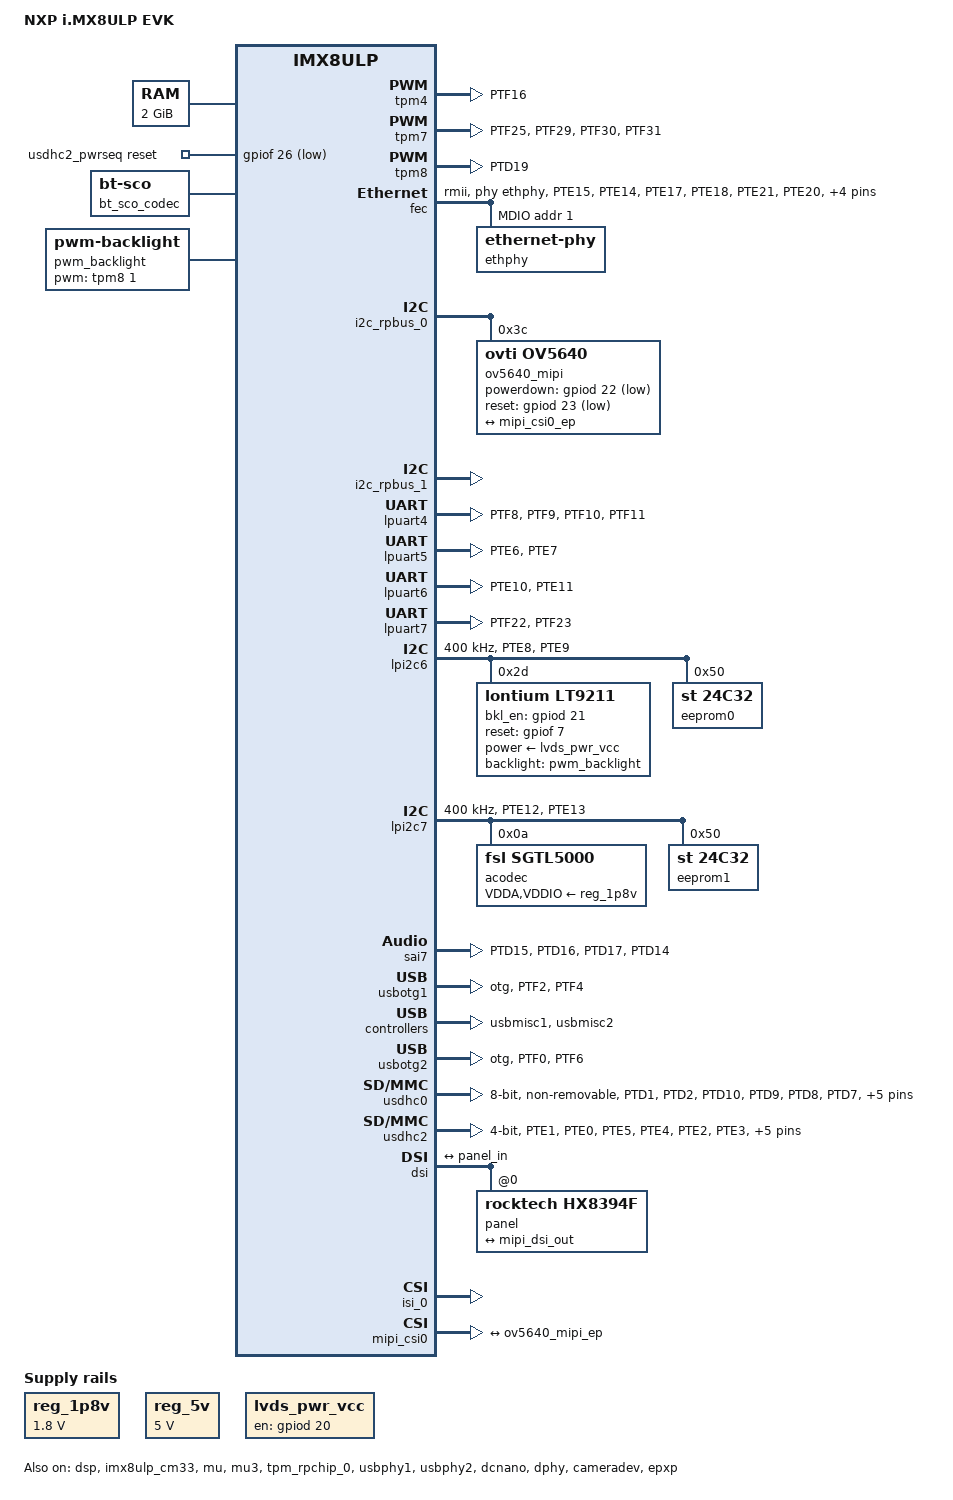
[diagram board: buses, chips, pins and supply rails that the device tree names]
// SPDX-License-Identifier: (GPL-2.0+ OR MIT)
/*
 * Copyright 2021 NXP
 */

/dts-v1/;

#include "imx8ulp.dtsi"
#include "imx8ulp-rpmsg.dtsi"
#include <dt-bindings/input/input.h>
#include <dt-bindings/display/dt-media-bus-format.h>

/ {
	model = "NXP i.MX8ULP EVK";
	compatible = "fsl,imx8ulp-evk", "fsl,imx8ulp";

	chosen {
		stdout-path = &lpuart5;
	};

	memory@40000000 {
		device_type = "memory";
		reg = <0x0 0x80000000 0 0x80000000>;
	};

	rpmsg_keys: rpmsg-keys {
		compatible = "fsl,rpmsg-keys";

		volume-up {
			label = "VolumeUp";
			linux,code = <KEY_VOLUMEUP>;
			rpmsg-key,wakeup;
		};

		volume-down {
			label = "VolumeDown";
			linux,code = <KEY_VOLUMEDOWN>;
			rpmsg-key,wakeup;
		};
	};

	reg_1p8v: regulator-1p8v {
		compatible = "regulator-fixed";
		regulator-name = "1P8V";
		regulator-min-microvolt = <1800000>;
		regulator-max-microvolt = <1800000>;
		regulator-always-on;
	};

	reserved-memory {
		#address-cells = <2>;
		#size-cells = <2>;
		ranges;

		linux,cma {
			compatible = "shared-dma-pool";
			reusable;
			size = <0 0x28000000>;
			linux,cma-default;
		};

		rsc_table: rsc_table@1fff8000{
			reg = <0 0x1fff8000 0 0x1000>;
			no-map;
		};

		dsp_reserved: dsp_reserved@8e000000 {
			reg = <0 0x8e000000 0 0x1000000>;
			no-map;
		};
		dsp_reserved_heap: dsp_reserved_heap {
			reg = <0 0x8f000000 0 0xef0000>;
			no-map;
		};
		dsp_vdev0vring0: vdev0vring0@8fef0000 {
			reg = <0 0x8fef0000 0 0x8000>;
			no-map;
		};
		dsp_vdev0vring1: vdev0vring1@8fef8000 {
			reg = <0 0x8fef8000 0 0x8000>;
			no-map;
		};
		dsp_vdev0buffer: vdev0buffer@8ff00000 {
			compatible = "shared-dma-pool";
			reg = <0 0x8ff00000 0 0x100000>;
			no-map;
		};

		vdev0vring0: vdev0vring0@aff00000 {
			reg = <0 0xaff00000 0 0x8000>;
			no-map;
		};

		vdev0vring1: vdev0vring1@aff08000 {
			reg = <0 0xaff08000 0 0x8000>;
			no-map;
		};

		vdev1vring0: vdev1vring0@aff10000 {
			reg = <0 0xaff10000 0 0x8000>;
			no-map;
		};

		vdev1vring1: vdev1vring1@aff18000 {
			reg = <0 0xaff18000 0 0x8000>;
			no-map;
		};

		vdevbuffer: vdevbuffer@a8400000 {
			compatible = "shared-dma-pool";
			reg = <0 0xa8400000 0 0x100000>;
			no-map;
		};

		m33_reserved: m33_noncacheable_section@a8600000 {
			no-map;
			reg = <0 0xa8600000 0 0x1000000>;
		};
	};

	reg_5v: regulator-5v {
		compatible = "regulator-fixed";
		regulator-name = "5V";
		regulator-min-microvolt = <5000000>;
		regulator-max-microvolt = <5000000>;
		regulator-always-on;
	};

	usdhc2_pwrseq: usdhc2_pwrseq {
		compatible = "mmc-pwrseq-simple";
		reset-gpios = <&gpiof 26 GPIO_ACTIVE_LOW>;
	};
/*
	usdhc2_pwrseq: usdhc2_pwrseq {
                compatible = "mmc-pwrseq-simple";
		reset-gpios = <&gpioc 23 GPIO_ACTIVE_LOW>;  //SDIO card
		power-off-delay-us = <2000>;
		post-power-on-delay-ms = <40>;
        };
*/

/*
	lpuart4_mod_reset: lpuart4-mod-reset {
		compatible = "gpio-reset";
		reset-gpios = <&gpioc 22 GPIO_ACTIVE_LOW>;
		reset-delay-us = <2000>;
		reset-post-delay-ms = <40>;
		#reset-cells = <0>;
	};
*/

	bt_sco_codec: bt_sco_codec {
		#sound-dai-cells = <1>;
		compatible = "linux,bt-sco";
	};

/*
	reg_sd1_vmmc: sd1_regulator {
		compatible = "regulator-fixed";
		regulator-name = "WLAN_EN";
		regulator-min-microvolt = <3300000>;
		regulator-max-microvolt = <3300000>;
		gpio = <&gpioc 21 GPIO_ACTIVE_HIGH>;
		off-on-delay-us = <20000>;
		startup-delay-us = <100>;
		enable-active-high;
	};
*/

	sound {
		compatible = "fsl,sgtl5000",
				"fsl,imx-audio-sgtl5000";
		model = "sgtl5000";
		codec-master;
		ssi-controller = <&sai7>;
		audio-codec = <&acodec>;
		audio-routing =
			"MIC_IN", "Mic Jack",
			"Mic Jack", "Mic Bias",
			"Headphone Jack", "HP_OUT";
		no-audmux;
	};

	pwm_backlight: backlight {
		compatible = "pwm-backlight";
		pwms = <&tpm8 1 1000000 0>;
		brightness-levels = < 0  1  2  3  4  5  6  7  8  9
				     10 11 12 13 14 15 16 17 18 19
				     20 21 22 23 24 25 26 27 28 29
				     30 31 32 33 34 35 36 37 38 39
				     40 41 42 43 44 45 46 47 48 49
				     50 51 52 53 54 55 56 57 58 59
				     60 61 62 63 64 65 66 67 68 69
				     70 71 72 73 74 75 76 77 78 79
				     80 81 82 83 84 85 86 87 88 89
				     90 91 92 93 94 95 96 97 98 99
				    100>;
		default-brightness-level = <80>;
		default-enable = <0>;
		status = "okay";
	};

	lvds_pwr_vcc: lvds-pwr-vcc {
		compatible = "regulator-fixed";
		regulator-name = "lvds_pwr_vcc";
		pinctrl-names = "default";
		gpio = <&gpiod 20 GPIO_ACTIVE_HIGH>;
		enable-active-high;
	};
};

&per_bridge3 {
	tpm4: tpm@29330000 {
		compatible = "fsl,imx8ulp-pwm", "fsl,imx7ulp-pwm";
		reg = <0x29330000 0x1000>;
		clocks = <&pcc3 IMX8ULP_CLK_TPM4>;
		clock-names = "ipg";
		assigned-clocks = <&pcc3 IMX8ULP_CLK_TPM4>;
		assigned-clock-parents =  <&cgc1 IMX8ULP_CLK_SOSC_DIV2>;
		assigned-clock-rates = <24000000>;
		status = "disabled";
	};
};

&per_bridge4 {
	tpm7: pwm@29830000 {
		compatible = "fsl,imx8ulp-pwm", "fsl,imx7ulp-pwm";
		reg = <0x29830000 0x10000>;
                clocks = <&pcc4 IMX8ULP_CLK_TPM7>;
                clock-names = "ipg", "sel";
                assigned-clocks = <&pcc4 IMX8ULP_CLK_TPM7>, <&cgc1 IMX8ULP_CLK_TPM7_SEL>;
                assigned-clock-parents =  <&cgc1 IMX8ULP_CLK_SOSC_DIV2>, <&cgc1 IMX8ULP_CLK_SOSC>;
                assigned-clock-rates = <24000000>;
                status = "disabled";
	};
};

&per_bridge5 {
	tpm8: pwm@2da80000 {
		compatible = "fsl,imx8ulp-pwm", "fsl,imx7ulp-pwm";
		reg = <0x2da80000 0x10000>;
		clocks = <&pcc5 IMX8ULP_CLK_TPM8>;
		clock-names = "ipg";
		assigned-clocks = <&pcc5 IMX8ULP_CLK_TPM8>;
		assigned-clock-parents =  <&cgc1 IMX8ULP_CLK_SOSC_DIV2>;
		assigned-clock-rates = <24000000>;
		status = "disabled";
	};
};

&clock_ext_ts {
	/* External ts clock is 50MHZ from PHY on EVK board. */
	clock-frequency = <50000000>;
};

&dsp {
	assigned-clocks = <&cgc2 IMX8ULP_CLK_HIFI_SEL>;
	assigned-clock-parents = <&cgc2 IMX8ULP_CLK_PLL4>;
	memory-region = <&dsp_vdev0buffer>, <&dsp_vdev0vring0>,
			<&dsp_vdev0vring1>, <&dsp_reserved>;
	status = "okay";
};

&fec {
	pinctrl-names = "default", "sleep";
	pinctrl-0 = <&pinctrl_enet>;
	pinctrl-1 = <&pinctrl_enet>;
	assigned-clocks = <&cgc1 IMX8ULP_CLK_ENET_TS_SEL>;
	assigned-clock-parents = <&clock_ext_ts>;
	phy-mode = "rmii";
	phy-handle = <&ethphy>;
	status = "okay";

	mdio {
		#address-cells = <1>;
		#size-cells = <0>;

		ethphy: ethernet-phy@1 {
			reg = <1>;
			micrel,led-mode = <1>;
		};
	};
};

&i2c_rpbus_0 {
	#address-cells = <1>;
	#size-cells = <0>;
	status = "okay";

	ov5640_mipi: ov5640_mipi@3c {
		compatible = "ovti,ov5640";
		reg = <0x3c>;
		clocks = <&cgc2 IMX8ULP_CLK_DSI_PHY_REF>;
		clock-names = "xclk";
		pinctrl-names = "default";
		pinctrl-0 = <&pinctrl_cam>;
		powerdown-gpios = <&gpiod 22 GPIO_ACTIVE_LOW>;
		reset-gpios = <&gpiod 23 GPIO_ACTIVE_LOW>;
		status = "okay";
		port {
			ov5640_mipi_ep: endpoint {
				remote-endpoint = <&mipi_csi0_ep>;
				data-lanes = <1 2>;
				clocks-lanes = <0>;
			};
		};
	};
};

&i2c_rpbus_1 {
	#address-cells = <1>;
	#size-cells = <0>;
	status = "okay";
};

&imx8ulp_cm33 {
	ipc-only;
	rsc-da=<0x1fff8000>;
	mbox-names = "tx", "rx", "rxdb";
	mboxes = <&mu 0 1
			&mu 1 1
			&mu 3 1>;
	memory-region = <&vdevbuffer>, <&vdev0vring0>, <&vdev0vring1>,
			<&vdev1vring0>, <&vdev1vring1>, <&rsc_table>;
	status = "okay";
};

&lpuart4 {
	pinctrl-names = "default", "sleep";
	pinctrl-0 = <&pinctrl_lpuart4>;
	pinctrl-1 = <&pinctrl_lpuart4>;
	status = "okay";
};

/*
&lpuart4 {
        pinctrl-names = "default";
        pinctrl-0 = <&pinctrl_lpuart4>, <&pinctrl_lpuart4_gpio>;
	fsl,uart-has-rtscts;
	resets = <&lpuart4_mod_reset>;
        status = "okay";
};
*/

&lpuart5 {
	/* console */
	pinctrl-names = "default", "sleep";
	pinctrl-0 = <&pinctrl_lpuart5>;
	pinctrl-1 = <&pinctrl_lpuart5>;
	status = "okay";
};

&lpuart6 {
	/* BT */
	pinctrl-names = "default", "sleep";
	pinctrl-0 = <&pinctrl_lpuart6>;
	pinctrl-1 = <&pinctrl_lpuart6>;
	status = "okay";
};

&lpuart7 {
	/* FT4232 PortD: need to connect J25/J26 2-3 */
	pinctrl-names = "default", "sleep";
	pinctrl-0 = <&pinctrl_lpuart7>;
	pinctrl-1 = <&pinctrl_lpuart7>;
	status = "okay";
};

&lpi2c6 {
	#address-cells = <1>;
	#size-cells = <0>;
	clock-frequency = <400000>;
	pinctrl-names = "default", "sleep";
	pinctrl-0 = <&pinctrl_lpi2c6>;
	pinctrl-1 = <&pinctrl_lpi2c6>;
	status = "okay";

	lt9211:lt9211@2d {
		compatible = "lontium,lt9211";
		reg = <0x2d>;
		pinctrl-names = "default";
		pinctrl-0 = <&pinctrl_lvds>;
		power-supply = <&lvds_pwr_vcc>;
		backlight = <&pwm_backlight>;
		bkl_en_gpio = <&gpiod 21 GPIO_ACTIVE_HIGH>;
		reset_gpio = <&gpiof 7 GPIO_ACTIVE_HIGH>;
		bus-format = <MEDIA_BUS_FMT_RGB888_1X7X4_SPWG>; // MEDIA_BUS_FMT_RGB888_1X7X4_JEIDA MEDIA_BUS_FMT_RGB888_1X7X4_SPWG
		delay_ms = <5000>;
		status = "okay";
	};

	eeprom0: 24c32@50 {
		compatible = "st,24c32";
		reg = <0x50>;
	};
};

&lpi2c7 {
	#address-cells = <1>;
	#size-cells = <0>;
	clock-frequency = <400000>;
	pinctrl-names = "default", "sleep";
	pinctrl-0 = <&pinctrl_lpi2c7>;
	pinctrl-1 = <&pinctrl_lpi2c7>;
	status = "okay";

	acodec: sgtl5000@a {
		#sound-dai-cells = <0>;
		compatible = "fsl,sgtl5000";
		reg = <0xa>;
		VDDA-supply = <&reg_1p8v>;
		VDDIO-supply = <&reg_1p8v>;
		pinctrl-names = "default";
		pinctrl-0 = <&pinctrl_sai7_mclk>;
		clocks = <&cgc1 IMX8ULP_CLK_SPLL3_PFD1_DIV1>;
		clock-names = "mclk";
	};

	eeprom1: 24c32@50 {
		compatible = "st,24c32";
		reg = <0x50>;
	};
};

&mu {
	status = "okay";
};

&mu3 {
	status = "okay";
};

&sai7 {
	#sound-dai-cells = <0>;
	pinctrl-names = "default", "sleep";
	pinctrl-0 = <&pinctrl_sai7>;
	pinctrl-1 = <&pinctrl_sai7>;
	assigned-clocks = <&cgc2 IMX8ULP_CLK_SAI7_SEL>;
	assigned-clock-parents = <&cgc1 IMX8ULP_CLK_SPLL3_PFD1_DIV1>;
	status = "okay";
};

&tpm_rpchip_0 {
	status = "okay";
};

&usbotg1 {
	pinctrl-names = "default", "sleep";
	pinctrl-0 = <&pinctrl_otgid1>;
	pinctrl-1 = <&pinctrl_otgid1>;
	dr_mode = "otg";
	hnp-disable;
	srp-disable;
	adp-disable;
	over-current-active-low;
	status = "okay";
};

&usbphy1 {
	status = "okay";
};

&usbmisc1 {
	status = "okay";
};

&usbotg2 {
	pinctrl-names = "default", "sleep";
	pinctrl-0 = <&pinctrl_otgid2>;
	pinctrl-1 = <&pinctrl_otgid2>;
	dr_mode = "otg";
	hnp-disable;
	srp-disable;
	adp-disable;
	over-current-active-low;
	status = "okay";
};

&usbphy2 {
	status = "okay";
};

&usbmisc2 {
	status = "okay";
};

&usdhc0 {
	pinctrl-names = "default", "state_100mhz", "state_200mhz", "sleep";
	pinctrl-0 = <&pinctrl_usdhc0>;
	pinctrl-1 = <&pinctrl_usdhc0>;
	pinctrl-2 = <&pinctrl_usdhc0>;
	pinctrl-3 = <&pinctrl_usdhc0>;
	non-removable;
	bus-width = <8>;
	status = "okay";
};

&usdhc2 {
	pinctrl-names = "default", "state_100mhz", "state_200mhz";
	pinctrl-0 = <&pinctrl_usdhc2_pte>;
	pinctrl-1 = <&pinctrl_usdhc2_pte>;
	pinctrl-2 = <&pinctrl_usdhc2_pte>;
	wp-gpios = <&gpiof 27 GPIO_ACTIVE_HIGH>;
	cd-gpios = <&gpiof 28 GPIO_ACTIVE_LOW>;
	mmc-pwrseq = <&usdhc2_pwrseq>;
	max-frequency = <100000000>;
	bus-width = <4>;
	keep-power-in-suspend;
	fsl,sdio-async-interrupt-enabled;
	no-1-8-v;
	status = "okay";
};

/*
&usdhc2 {
	pinctrl-names = "default", "state_100mhz", "state_200mhz";
	pinctrl-0 = <&pinctrl_usdhc2_pte>, <&pinctrl_usdhc2_gpio>;
	pinctrl-1 = <&pinctrl_usdhc2_pte>, <&pinctrl_usdhc2_gpio>;
	pinctrl-2 = <&pinctrl_usdhc2_pte>, <&pinctrl_usdhc2_gpio>;
	bus-width = <4>;
	mmc-pwrseq = <&usdhc2_pwrseq>;
	vmmc-supply = <&reg_sd1_vmmc>;
	keep-power-in-suspend;
	fsl,sdio-async-interrupt-enabled;
	no-1-8-v;
	status = "okay";
};
*/

&dcnano {
	status = "okay";
};

&dphy {
	status = "okay";
};

&dsi {
	status = "okay";

	panel@0 {
		compatible = "rocktech,hx8394f";
		reg = <0>;
		adv-panel = "lontium,lt9211_800x480";
		himax,dsi-lanes = <4>;

		port {
			panel_in: endpoint {
				remote-endpoint = <&mipi_dsi_out>;
			};
		};
	};

	ports {
		port@1 {
			reg = <1>;

			mipi_dsi_out: endpoint {
				remote-endpoint = <&panel_in>;
			};
		};
	};
};

&tpm4 {
	pinctrl-names = "default", "sleep";
	pinctrl-0 = <&pinctrl_tpm4>;
	pinctrl-1 = <&pinctrl_tpm4>;
	status = "okay";
};

&tpm7 {
	pinctrl-names = "default", "sleep";
	pinctrl-0 = <&pinctrl_tpm7>;
	pinctrl-1 = <&pinctrl_tpm7>;
	status = "okay";
};

&tpm8 {
	pinctrl-names = "default";
	pinctrl-0 = <&pinctrl_pwm>;
	#pwm-cells = <3>;
	status = "okay";
};

&iomuxc0 {
	pinctrl-names = "default";
        pinctrl-0 = <&pinctrl_hog_0>;

        pinctrl_hog_0: hog0grp {
                fsl,pins = <
                        MX8ULP_PAD_PTA5__PTA5_GPIOA     0x3
                        MX8ULP_PAD_PTB0__PTB0_GPIOB     0x3
                        MX8ULP_PAD_PTB1__PTB1_GPIOB     0x3
                        MX8ULP_PAD_PTB6__PTB6_GPIOB     0x3
                        MX8ULP_PAD_PTC0__PTC0_GPIOC     0x3
                        MX8ULP_PAD_PTC1__PTC1_GPIOC     0x3
                        MX8ULP_PAD_PTC2__PTC2_GPIOC     0x3
                        MX8ULP_PAD_PTC3__PTC3_GPIOC     0x3
                        MX8ULP_PAD_PTC4__PTC4_GPIOC     0x3
                        MX8ULP_PAD_PTC12__PTC12_GPIOC   0x3
                        MX8ULP_PAD_PTC18__PTC18_GPIOC   0x3
                        MX8ULP_PAD_PTC19__PTC19_GPIOC   0x3
                        MX8ULP_PAD_PTC20__PTC20_GPIOC   0x3
                        /* MX8ULP_PAD_PTC21__PTC21_GPIOC   0x3 */
                        /* MX8ULP_PAD_PTC22__PTC22_GPIOC   0x3 */
                        /* MX8ULP_PAD_PTC23__PTC23_GPIOC   0x3 */

                >;
        };

	pinctrl_usdhc2_gpio: usdhc2grpgpio {
		fsl,pins = <
			MX8ULP_PAD_PTC21__PTC21_GPIOC   0x3  /* M2_SDIO_RST */
			MX8ULP_PAD_PTC23__PTC23_GPIOC   0x3  /* W_DISABLE1 */
		>;
	};

	pinctrl_lpuart4_gpio: lpuart4grpgpio {
                fsl,pins = <
                        MX8ULP_PAD_PTC22__PTC22_GPIOC   0x2  /* W_DISABLE2 */
                >;
        };
};

&iomuxc1 {
	pinctrl-names = "default";
        pinctrl-0 = <&pinctrl_hog_1>;

        pinctrl_hog_1: hog1grp {
                fsl,pins = <
                        MX8ULP_PAD_PTD12__PTD12         0x3
                        MX8ULP_PAD_PTD13__PTD13         0x3
                        /* MX8ULP_PAD_PTD19__PTD19         0x3 */
                        MX8ULP_PAD_PTF1__PTF1           0x3
                >;
        };

	pinctrl_enet: enetgrp {
		fsl,pins = <
			MX8ULP_PAD_PTE15__ENET0_MDC     0x43
			MX8ULP_PAD_PTE14__ENET0_MDIO    0x43
			MX8ULP_PAD_PTE17__ENET0_RXER    0x43
			MX8ULP_PAD_PTE18__ENET0_CRS_DV  0x43
			/*
			MX8ULP_PAD_PTF1__ENET0_RXD0     0x43
			*/
			MX8ULP_PAD_PTE21__ENET0_RXD0	0x43
			MX8ULP_PAD_PTE20__ENET0_RXD1    0x43
			MX8ULP_PAD_PTE16__ENET0_TXEN    0x43
			MX8ULP_PAD_PTE23__ENET0_TXD0    0x43
			MX8ULP_PAD_PTE22__ENET0_TXD1    0x43
			MX8ULP_PAD_PTE19__ENET0_REFCLK  0x43
			/*
			MX8ULP_PAD_PTF10__ENET0_1588_CLKIN 0x43
			*/
		>;
	};

	pinctrl_lpuart4: lpuart4grp {
		fsl,pins = <
			MX8ULP_PAD_PTF8__LPUART4_CTS_B	0x3
			MX8ULP_PAD_PTF9__LPUART4_RTS_B	0x3
			MX8ULP_PAD_PTF10__LPUART4_TX	0x3
			MX8ULP_PAD_PTF11__LPUART4_RX	0x3
		>;
	};

	pinctrl_lpuart5: lpuart5grp {
		fsl,pins = <
			MX8ULP_PAD_PTE6__LPUART5_TX	0x3
			MX8ULP_PAD_PTE7__LPUART5_RX	0x3
		>;
	};

	pinctrl_lpuart6: lpuart6grp {
		fsl,pins = <
			MX8ULP_PAD_PTE10__LPUART6_TX	0x3
			MX8ULP_PAD_PTE11__LPUART6_RX	0x3
			/*
			MX8ULP_PAD_PTE9__LPUART6_RTS_B	0x3
			MX8ULP_PAD_PTE8__LPUART6_CTS_B	0x3
			*/
		>;
	};

	pinctrl_lpuart7: lpuart7grp {
		fsl,pins = <
			MX8ULP_PAD_PTF22__LPUART7_TX	0x3
			MX8ULP_PAD_PTF23__LPUART7_RX	0x3
		>;
	};

	pinctrl_lpi2c6: lpi2c6grp {
		fsl,pins = <
			MX8ULP_PAD_PTE8__LPI2C6_SCL    0x20
			MX8ULP_PAD_PTE9__LPI2C6_SDA    0x20
		>;
	};

	pinctrl_lpi2c7: lpi2c7grp {
		fsl,pins = <
			MX8ULP_PAD_PTE12__LPI2C7_SCL	0x20
			MX8ULP_PAD_PTE13__LPI2C7_SDA	0x20
		>;
	};

	pinctrl_otgid1: usb1grp {
		fsl,pins = <
			MX8ULP_PAD_PTF2__USB0_ID	0x10003
			MX8ULP_PAD_PTF4__USB0_OC	0x10003
		>;
	};

	pinctrl_otgid2: usb2grp {
		fsl,pins = <
			MX8ULP_PAD_PTF0__USB1_ID	0x10003
			/*
			MX8ULP_PAD_PTD23__USB1_ID	0x10003
			*/
			MX8ULP_PAD_PTF6__USB1_OC	0x10003
		>;
	};

	pinctrl_sai7: sai7grp {
		fsl,pins = <
			MX8ULP_PAD_PTD15__I2S7_TX_BCLK	0x43
			MX8ULP_PAD_PTD16__I2S7_TX_FS	0x43
			MX8ULP_PAD_PTD17__I2S7_TXD0	0x43
			MX8ULP_PAD_PTD14__I2S7_RXD0	0x43
		>;
	};

	pinctrl_sai7_mclk: sai7grp_mclk {
		fsl,pins = <
			MX8ULP_PAD_PTD18__I2S7_MCLK	0x43
		>;
	};

	pinctrl_usdhc0: usdhc0grp {
		fsl,pins = <
			MX8ULP_PAD_PTD1__SDHC0_CMD	0x3
			MX8ULP_PAD_PTD2__SDHC0_CLK	0x10002
			MX8ULP_PAD_PTD10__SDHC0_D0	0x3
			MX8ULP_PAD_PTD9__SDHC0_D1	0x3
			MX8ULP_PAD_PTD8__SDHC0_D2	0x3
			MX8ULP_PAD_PTD7__SDHC0_D3	0x3
			MX8ULP_PAD_PTD6__SDHC0_D4	0x3
			MX8ULP_PAD_PTD5__SDHC0_D5	0x3
			MX8ULP_PAD_PTD4__SDHC0_D6	0x3
			MX8ULP_PAD_PTD3__SDHC0_D7	0x3
			MX8ULP_PAD_PTD11__SDHC0_DQS	0x10002
		>;
	};

	pinctrl_usdhc2_pte: usdhc2ptegrp {
		fsl,pins = <
			MX8ULP_PAD_PTE1__SDHC2_D0	0x3
			MX8ULP_PAD_PTE0__SDHC2_D1	0x3
			MX8ULP_PAD_PTE5__SDHC2_D2	0x3
			MX8ULP_PAD_PTE4__SDHC2_D3	0x3
			MX8ULP_PAD_PTE2__SDHC2_CLK	0x10002
			MX8ULP_PAD_PTE3__SDHC2_CMD	0x3
			/*
			MX8ULP_PAD_PTE7__PTE7		0x10003
			*/
			MX8ULP_PAD_PTF26__SDHC2_RESET_B	0x3
			MX8ULP_PAD_PTF27__SDHC2_WP	0x2
			MX8ULP_PAD_PTF28__SDHC2_CD	0x3
		>;
	};

	pinctrl_lvds: lvdsgrp {
		fsl,pins = <
			MX8ULP_PAD_PTD20__PTD20         0x2 /* DISP_VDD_EN */
			MX8ULP_PAD_PTD21__PTD21         0x2 /* DISP_BL_EN */
			MX8ULP_PAD_PTF7__PTF7           0x2 /* LVDS_RST */
		>;
	};

	pinctrl_pwm: pwmgrp {
		fsl,pins = <
			MX8ULP_PAD_PTD19__TPM8_CH1      0x42 /* DISP_BL_PWM */
		>;
	};

	pinctrl_tpm4: tpm4grp {
		fsl,pins = <
			MX8ULP_PAD_PTF16__TPM4_CH4      0x42 /* PWM1 */
		>;
	};

	pinctrl_tpm7: tpm7grp {
                fsl,pins = <
                        MX8ULP_PAD_PTF25__TPM7_CH5      0x42 /* PWM2 */
                        MX8ULP_PAD_PTF29__TPM7_CH2      0x42 /* PWM3 */
                        MX8ULP_PAD_PTF30__TPM7_CH3      0x42 /* PWM4 */
                        MX8ULP_PAD_PTF31__TPM7_CH4      0x42 /* PWM5 */
                >;
        };

	pinctrl_cam: camgrp {
		fsl,pins = <
			MX8ULP_PAD_PTD22__PTD22		0x3 /* CAM_PWR */
			MX8ULP_PAD_PTD23__PTD23		0x3 /* CAM_RST */
		>;
	};
};

&cameradev {
	status = "okay";
};

&isi_0 {
	status = "okay";

	cap_device {
		status = "okay";
	};
};

&mipi_csi0 {
	#address-cells = <1>;
	#size-cells = <0>;

	status = "okay";
	port@0 {
		reg = <0>;
		mipi_csi0_ep: endpoint {
			remote-endpoint = <&ov5640_mipi_ep>;
			data-lanes = <1 2>;
			bus-type = <4>;
		};
	};
};

&epxp {
	status = "okay";
};
